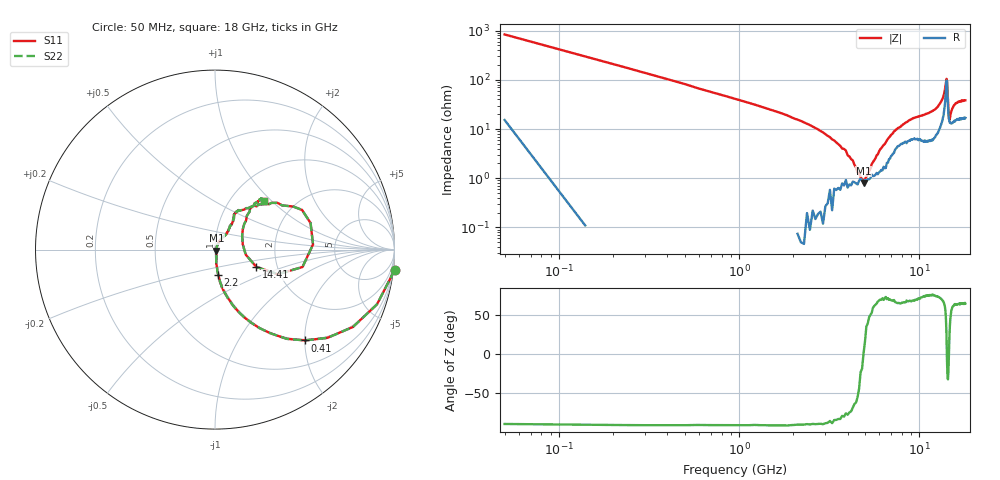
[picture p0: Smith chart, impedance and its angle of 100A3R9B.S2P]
!  American Technical Ceramics  Date:  3/13/98
!  One Norden Lane
!  Huntington Station,  NY.  11746-2102
!  Tel:  (516) 547-5700  Fax:  (516) 547-5748
!  Part Number  100A3R9B
!  Description: Porcelain, High Q, Low ESR
!  Application: Bypass, Coupling, Timing, Feedback
!  Tuning, Impedance Match, Blocking
# GHZ S DB R 50
! Freq  |S11|  S11 Ph  |S21|  S21 Ph  |S12|  S12 Ph  |S22|  S22 Ph
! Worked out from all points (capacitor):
!   201 points, 50 MHz to 18 GHz, reference 50 ohm
!   read as one part in series: C = 3.8 pF near 140 MHz
!   lowest |Z| = 802 mohm at 4.9 GHz (marker M1)
!   series resonance near 4.898 GHz, so ESL is about 280 pH
!   S11 on the Smith chart (normalised r, x): 50 MHz: -1, -17; 410 MHz: 0.98, -2.00; 2.2 GHz: 0.99, -0.29; 14.41 GHz: 1.56, -0.32; 18 GHz: 1.42, +0.90
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0.05  0.06 -6.5  -18.37 82.3  -18.37 82.3  0.06 -6.5
0.14  -0.42 -18.7  -9.93 71.3  -9.93 71.3  -0.42 -18.7
0.41  -2.95 -45.3  -3.00 45.2  -3.00 45.2  -2.95 -45.3
0.95  -8.39 -68.7  -0.70 22.4  -0.70 22.4  -8.39 -68.7
2.2  -16.91 -82.9  -0.13 8.4  -0.13 8.4  -16.91 -82.9
3.1  -23.02 -84.3  -0.06 4.2  -0.06 4.2  -23.02 -84.3
4.27  -32.13 -72.8  -0.09 1.1  -0.09 1.1  -32.13 -72.8
4.9  -39.68 -40.7  -0.07 -0.4  -0.07 -0.4  -39.68 -40.7
5.35  -40.81 20.9  -0.10 -1.2  -0.10 -1.2  -40.81 20.9
6.06  -31.11 60.3  -0.13 -2.7  -0.13 -2.7  -31.11 60.3
7.23  -21.41 57.4  -0.23 -4.9  -0.23 -4.9  -21.41 57.4
9.03  -15.13 56.9  -0.43 -6.4  -0.43 -6.4  -15.13 56.9
12.08  -11.85 58.5  -0.50 -10.9  -0.50 -10.9  -11.85 58.5
13.42  -8.69 43.7  -1.11 -18.2  -1.11 -18.2  -8.69 43.7
13.87  -6.07 28.9  -2.33 -24.5  -2.33 -24.5  -6.07 28.9
14.14  -5.24 3.0  -5.69 -16.8  -5.69 -16.8  -5.24 3.0
14.23  -6.07 -11.2  -5.77 -0.2  -5.77 -0.2  -6.07 -11.2
14.41  -12.03 -22.7  -2.40 8.9  -2.40 8.9  -12.03 -22.7
14.59  -16.06 10.8  -1.16 1.6  -1.16 1.6  -16.06 10.8
15.04  -11.82 46.5  -0.81 -6.4  -0.81 -6.4  -11.82 46.5
15.94  -8.79 48.2  -0.99 -10.5  -0.99 -10.5  -8.79 48.2
18  -8.30 44.6  -1.11 -13.6  -1.11 -13.6  -8.30 44.6
